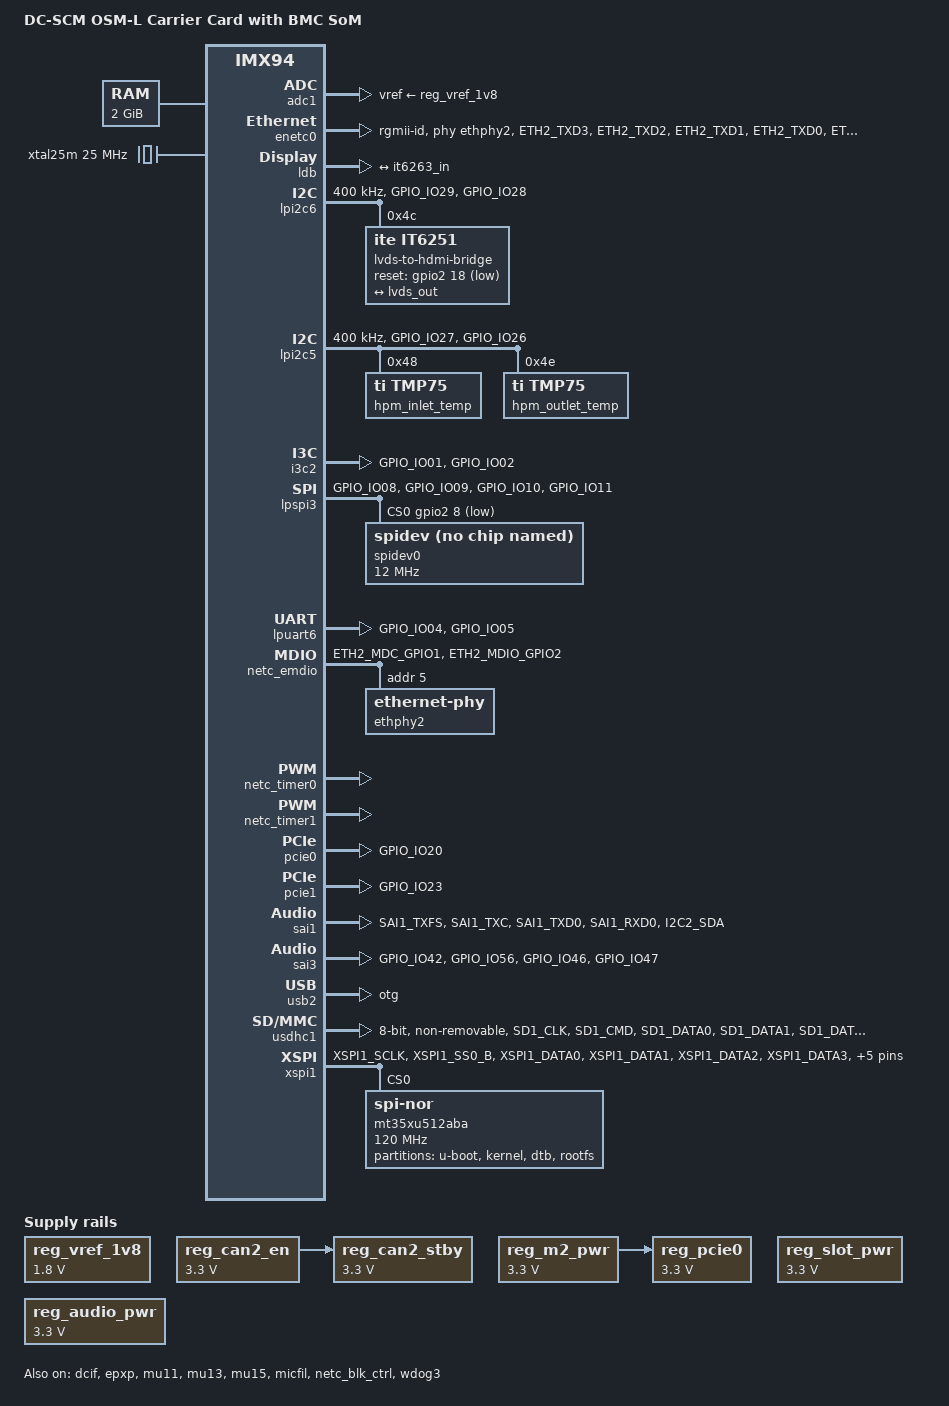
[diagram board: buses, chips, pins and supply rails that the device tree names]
// SPDX-License-Identifier: (GPL-2.0+ OR MIT)
/*
 * Copyright 2024-2026 NXP
 */

/dts-v1/;

#include "imx943.dtsi"
#include <dt-bindings/usb/pd.h>
#include <dt-bindings/pwm/pwm.h>

#define BRD_SM_CTRL_BT_WAKE		0x8000  /*!< PCAL6416A-3 */
#define BRD_SM_CTRL_SD3_WAKE		0x8001  /*!< PCAL6416A-4 */
#define BRD_SM_CTRL_PCIE1_WAKE		0x8002  /*!< PCAL6416A-5 */
#define BRD_SM_CTRL_PCIE2_WAKE		0x8003  /*!< PCAL6416A-6 */
#define BRD_SM_CTRL_BUTTON		0x8004  /*!< PCAL6416A-7 */

/ {
	model = "DC-SCM OSM-L Carrier Card with BMC SoM";
	compatible = "fsl,imx943-evk", "fsl,imx94";

	aliases {
		ethernet0 = &enetc0;
		mmc0 = &usdhc1;
		serial0 = &lpuart6;
	};

	chosen {
		stdout-path = &lpuart6;
	};

	cm70: imx943-cm70 {
		compatible = "fsl,imx94-cm7";
		mbox-names = "tx", "rx", "rxdb";
		mboxes = <&mu11 0 1
			  &mu11 1 1
			  &mu11 3 1>;
		memory-region = <&cm70_vdevbuffer>, <&cm70_vdev0vring0>, <&cm70_vdev0vring1>,
				<&cm70_vdev1vring0>, <&cm70_vdev1vring1>, <&cm70_rsc_table>;
		fsl,startup-delay-ms = <50>;
		fsl,core-index = <0x1>;
		/* cpuid and lmmid must align with SM firmware */
		fsl,cpu-id = <1>;
		fsl,lmm-id = <2>;
		status = "okay";
	};

	cm71: imx943-cm71 {
		compatible = "fsl,imx94-cm7";
		mbox-names = "tx", "rx", "rxdb";
		mboxes = <&mu13 0 1
			  &mu13 1 1
			  &mu13 3 1>;
		memory-region = <&cm71_vdevbuffer>, <&cm71_vdev0vring0>, <&cm71_vdev0vring1>,
				<&cm71_vdev1vring0>, <&cm71_vdev1vring1>, <&cm71_rsc_table>;
		fsl,startup-delay-ms = <50>;
		fsl,core-index = <0x7>;
		/* cpuid and lmmid must align with SM firmware */
		fsl,cpu-id = <7>;
		fsl,lmm-id = <3>;
		status = "okay";
	};

	cm33s: imx943-cm33s {
		compatible = "fsl,imx94-cm33s";
		mbox-names = "tx", "rx", "rxdb";
		mboxes = <&mu15 0 1
			  &mu15 1 1
			  &mu15 3 1>;
		memory-region = <&cm33s_vdevbuffer>, <&cm33s_vdev0vring0>, <&cm33s_vdev0vring1>,
				<&cm33s_vdev1vring0>, <&cm33s_vdev1vring1>, <&cm33s_rsc_table>;
		fsl,startup-delay-ms = <50>;
		/* cpuid and lmmid must align with SM firmware */
		fsl,cpu-id = <8>;
		fsl,lmm-id = <1>;
		status = "okay";
	};

	memory@80000000 {
		device_type = "memory";
		reg = <0x0 0x80000000 0x0 0x80000000>;
	};

	pcie_ref_clk: clock-pcie-ref {
		compatible = "gpio-gate-clock";
		clocks = <&xtal25m>;
		#clock-cells = <0>;
	};

	reserved-memory {
		#address-cells = <2>;
		#size-cells = <2>;
		ranges;

		linux,cma {
			compatible = "shared-dma-pool";
			reusable;
			size = <0 0x10000000>;
			alloc-ranges = <0 0x80000000 0 0x7f000000>;
			linux,cma-default;
		};

		cm70_vdev0vring0: vdev0vring0@82000000 {
			reg = <0 0x82000000 0 0x8000>;
			no-map;
		};

		cm70_vdev0vring1: vdev0vring1@82008000 {
			reg = <0 0x82008000 0 0x8000>;
			no-map;
		};

		cm70_vdev1vring0: vdev1vring0@82010000 {
			reg = <0 0x82010000 0 0x8000>;
			no-map;
		};

		cm70_vdev1vring1: vdev1vring1@82018000 {
			reg = <0 0x82018000 0 0x8000>;
			no-map;
		};

		cm70_rsc_table: rsc-table@82220000 {
			reg = <0 0x82220000 0 0x1000>;
			no-map;
		};

		cm70_vdevbuffer: vdevbuffer@82020000 {
			compatible = "shared-dma-pool";
			reg = <0 0x82020000 0 0x100000>;
			no-map;
		};

		cm71_vdev0vring0: vdev0vring0@84000000 {
			reg = <0 0x84000000 0 0x8000>;
			no-map;
		};

		cm71_vdev0vring1: vdev0vring1@84008000 {
			reg = <0 0x84008000 0 0x8000>;
			no-map;
		};

		cm71_vdev1vring0: vdev1vring0@84010000 {
			reg = <0 0x84010000 0 0x8000>;
			no-map;
		};

		cm71_vdev1vring1: vdev1vring1@84018000 {
			reg = <0 0x84018000 0 0x8000>;
			no-map;
		};

		cm71_rsc_table: rsc-table@84220000 {
			reg = <0 0x84220000 0 0x1000>;
			no-map;
		};

		cm71_vdevbuffer: vdevbuffer@84020000 {
			compatible = "shared-dma-pool";
			reg = <0 0x84020000 0 0x100000>;
			no-map;
		};

		cm33s_vdev0vring0: vdev0vring0@20800000 {
			reg = <0 0x20800000 0 0x8000>;
			no-map;
		};

		cm33s_vdev0vring1: vdev0vring1@20808000 {
			reg = <0 0x20808000 0 0x8000>;
			no-map;
		};

		cm33s_vdev1vring0: vdev1vring0@20810000 {
			reg = <0 0x20810000 0 0x8000>;
			no-map;
		};

		cm33s_vdev1vring1: vdev1vring1@20818000 {
			reg = <0 0x20818000 0 0x8000>;
			no-map;
		};

		cm33s_rsc_table: rsc-table@208a0000 {
			reg = <0 0x208a0000 0 0x1000>;
			no-map;
		};

		cm33s_vdevbuffer: vdevbuffer@20820000 {
			compatible = "shared-dma-pool";
			reg = <0 0x20820000 0 0x80000>;
			no-map;
		};

		ele_reserved: ele-reserved@a4120000 {
			compatible = "shared-dma-pool";
			reg = <0 0xa4120000 0 0x100000>;
			no-map;
		};
	};

	reg_vref_1v8: regulator-adc-vref {
		compatible = "regulator-fixed";
		regulator-name = "vref_1v8";
		regulator-min-microvolt = <1800000>;
		regulator-max-microvolt = <1800000>;
	};

	reg_can2_en: regulator-can2-en {
		compatible = "regulator-fixed";
		regulator-max-microvolt = <3300000>;
		regulator-min-microvolt = <3300000>;
		regulator-name = "can2-en";
		enable-active-high;
	};

	reg_can2_stby: regulator-can2-stby {
		compatible = "regulator-fixed";
		regulator-max-microvolt = <3300000>;
		regulator-min-microvolt = <3300000>;
		regulator-name = "can2-stby";
		vin-supply = <&reg_can2_en>;
		enable-active-high;
	};

	reg_m2_pwr: regulator-m2-pwr {
		compatible = "regulator-fixed";
		regulator-name = "M.2-power";
		regulator-min-microvolt = <3300000>;
		regulator-max-microvolt = <3300000>;
		enable-active-high;
		/*
		 * M.2 device only can be enabled(W_DISABLE1#) after all Power
		 * Rails reach their minimum operating voltage (PCI Express M.2
		 * Specification r5.1 3.1.4 Power-up Timing).
		 * Set a delay equal to the max value of Tsettle here.
		 */
		startup-delay-us = <5000>;
	};

	reg_pcie0: regulator-pcie {
		compatible = "regulator-fixed";
		regulator-name = "PCIE_WLAN_EN";
		regulator-min-microvolt = <3300000>;
		regulator-max-microvolt = <3300000>;
		vin-supply = <&reg_m2_pwr>;
		enable-active-high;
	};

	reg_slot_pwr: regulator-slot-pwr {
		compatible = "regulator-fixed";
		regulator-name = "PCIe slot-power";
		regulator-min-microvolt = <3300000>;
		regulator-max-microvolt = <3300000>;
		enable-active-high;
	};

	reg_audio_pwr: regulator-wm8962-pwr {
		compatible = "regulator-fixed";
		regulator-name = "audio-pwr";
		regulator-min-microvolt = <3300000>;
		regulator-max-microvolt = <3300000>;
		enable-active-high;
	};

	xtal25m: clock-xtal25m {
		compatible = "fixed-clock";
		#clock-cells = <0>;
		clock-frequency = <25000000>;
		clock-output-names = "xtal_25MHz";
	};
};

&adc1 {
	vref-supply = <&reg_vref_1v8>;
	status = "okay";
};

&dcif {
	status = "okay";
};


&ele_if0 {
	memory-region = <&ele_reserved>;
};

&enetc0 {
	clocks = <&scmi_clk IMX94_CLK_MAC3>;
	clock-names = "ref";
	pinctrl-names = "default";
	pinctrl-0 = <&pinctrl_eth2>;
	phy-handle = <&ethphy2>;
	phy-mode = "rgmii-id";
	status = "okay";
};

&epxp {
	status = "okay";
};

&ldb {
	#address-cells = <1>;
	#size-cells = <0>;
	assigned-clocks = <&scmi_clk IMX94_CLK_LDBPLL_VCO>,
    <&scmi_clk IMX94_CLK_LDBPLL>;
  assigned-clock-rates = <4158000000>, <1039500000>;
  status = "okay";

  ports {
    #address-cells = <1>;
    #size-cells = <0>;

    port@1 {
      reg = <1>;

      lvds_out: endpoint {
        remote-endpoint = <&it6263_in>;
      };
    };
  };
};

&lpi2c6 {
	clock-frequency = <400000>;
	pinctrl-0 = <&pinctrl_lpi2c6>;
	pinctrl-names = "default";
	status = "okay";

  lvds-to-hdmi-bridge@4c {
    compatible = "ite,it6251";
    reg = <0x4c>, <0x4d>;
    reg-names = "bridge", "lvds";
    reset-gpios = <&gpio2 18 GPIO_ACTIVE_LOW>;

    ports {
      #address-cells = <1>;
      #size-cells = <0>;
      port@0 {
        reg = <0>;
        bridge_out_edp0: endpoint {
        };
      };

      port@1 {
        reg = <1>;

        it6263_in: endpoint {
          remote-endpoint = <&lvds_out>;
        };
      };
    };
  };
};

&lpi2c5 {
	clock-frequency = <400000>;
	pinctrl-names = "default";
	pinctrl-0 = <&pinctrl_lpi2c5>;
	status = "okay";

	hpm_inlet_temp: tmp75@48 {
		compatible = "ti,tmp75";
		reg = <0x48>;
	};
	hpm_outlet_temp: tmp75@4e {
		compatible = "ti,tmp75";
		reg = <0x4e>;
	};
};

&i3c2 {
	i2c-scl-hz = <400000>;
	pinctrl-0 = <&pinctrl_i3c2>;
	pinctrl-1 = <&pinctrl_i3c2_sleep>;
	pinctrl-names = "default", "sleep";
	status = "okay";
};

&lpspi3 {
	cs-gpios = <&gpio2 8 GPIO_ACTIVE_LOW>;
	num-cs = <2>;
	pinctrl-0 = <&pinctrl_lpspi3>;
	pinctrl-names = "default";
	status = "okay";

	spidev0: spi@0 {
		compatible = "rohm,dh2228fv";
		reg = <0>;
		spi-max-frequency = <12000000>;
	};
};

&lpuart6 {
	/* console */
	pinctrl-names = "default";
	pinctrl-0 = <&pinctrl_uart6>;
	status = "okay";
};

&mu11 {
	status = "okay";
};

&mu13 {
	status = "okay";
};

&mu15 {
	status = "okay";
};

&micfil {
	pinctrl-names = "default";
	pinctrl-0 = <&pinctrl_pdm>;
	assigned-clocks = <&scmi_clk IMX94_CLK_AUDIOPLL1_VCO>,
			  <&scmi_clk IMX94_CLK_AUDIOPLL2_VCO>,
			  <&scmi_clk IMX94_CLK_AUDIOPLL1>,
			  <&scmi_clk IMX94_CLK_AUDIOPLL2>,
			  <&scmi_clk IMX94_CLK_PDM>;
	assigned-clock-parents = <0>, <0>, <0>, <0>,
				 <&scmi_clk IMX94_CLK_AUDIOPLL1>;
	assigned-clock-rates = <3932160000>,
			       <3612672000>, <393216000>,
			       <361267200>, <49152000>;
	status = "okay";
};

&netc_blk_ctrl {
	assigned-clocks = <&scmi_clk IMX94_CLK_MAC2>,
			  <&scmi_clk IMX94_CLK_MAC3>,
			  <&scmi_clk IMX94_CLK_MAC4>,
			  <&scmi_clk IMX94_CLK_MAC5>;
	assigned-clock-parents = <&scmi_clk IMX94_CLK_SYSPLL1_PFD0>,
				 <&scmi_clk IMX94_CLK_SYSPLL1_PFD0>,
				 <&scmi_clk IMX94_CLK_SYSPLL1_PFD0>,
				 <&scmi_clk IMX94_CLK_SYSPLL1_PFD0>;
	assigned-clock-rates = <250000000>, <250000000>, <250000000>, <250000000>;
	status = "okay";
};

&netc_emdio {
	pinctrl-names = "default";
	pinctrl-0 = <&pinctrl_emdio>;
	status = "okay";

	ethphy2: ethernet-phy@5 {
		reg = <0x5>;
		realtek,clkout-disable;
	};
};

&netc_timer0 {
	status = "okay";
};

&netc_timer1 {
	status = "okay";
};

&pcie0 {
	pinctrl-0 = <&pinctrl_pcie0>;
	pinctrl-names = "default";
	clocks = <&scmi_clk IMX94_CLK_HSIO>,
		 <&scmi_clk IMX94_CLK_HSIOPLL>,
		 <&scmi_clk IMX94_CLK_HSIOPLL_VCO>,
		 <&scmi_clk IMX94_CLK_HSIOPCIEAUX>,
		 <&pcie_ref_clk>;
	clock-names = "pcie", "pcie_bus", "pcie_phy", "pcie_aux", "ext-ref";
	vpcie-supply = <&reg_pcie0>;
	status = "okay";
};

&pcie1 {
	pinctrl-0 = <&pinctrl_pcie1>;
	pinctrl-names = "default";
	clocks = <&scmi_clk IMX94_CLK_HSIO>,
		 <&scmi_clk IMX94_CLK_HSIOPLL>,
		 <&scmi_clk IMX94_CLK_HSIOPLL_VCO>,
		 <&scmi_clk IMX94_CLK_HSIOPCIEAUX>,
		 <&pcie_ref_clk>;
	clock-names = "pcie", "pcie_bus", "pcie_phy", "pcie_aux", "ext-ref";
	vpcie-supply = <&reg_slot_pwr>;
	status = "okay";
};

&pcie1_ep {
	pinctrl-0 = <&pinctrl_pcie1>;
	pinctrl-names = "default";
	clocks = <&scmi_clk IMX94_CLK_HSIO>,
		 <&scmi_clk IMX94_CLK_HSIOPLL>,
		 <&scmi_clk IMX94_CLK_HSIOPLL_VCO>,
		 <&scmi_clk IMX94_CLK_HSIOPCIEAUX>;
	clock-names = "pcie", "pcie_bus", "pcie_phy", "pcie_aux";
	vpcie-supply = <&reg_slot_pwr>;
	status = "disabled";
};

&sai1 {
	pinctrl-names = "default";
	pinctrl-0 = <&pinctrl_sai1>;
	assigned-clocks = <&scmi_clk IMX94_CLK_AUDIOPLL1_VCO>,
			  <&scmi_clk IMX94_CLK_AUDIOPLL2_VCO>,
			  <&scmi_clk IMX94_CLK_AUDIOPLL1>,
			  <&scmi_clk IMX94_CLK_AUDIOPLL2>,
			  <&scmi_clk IMX94_CLK_SAI1>;
	assigned-clock-parents = <0>, <0>, <0>, <0>,
				 <&scmi_clk IMX94_CLK_AUDIOPLL1>;
	assigned-clock-rates = <3932160000>,
			       <3612672000>, <393216000>,
			       <361267200>, <12288000>;
	fsl,sai-mclk-direction-output;
	status = "okay";
};

&sai3 {
	pinctrl-names = "default";
	pinctrl-0 = <&pinctrl_sai3>;
	assigned-clocks = <&scmi_clk IMX94_CLK_AUDIOPLL1_VCO>,
			  <&scmi_clk IMX94_CLK_AUDIOPLL2_VCO>,
			  <&scmi_clk IMX94_CLK_AUDIOPLL1>,
			  <&scmi_clk IMX94_CLK_AUDIOPLL2>,
			  <&scmi_clk IMX94_CLK_SAI3>;
	assigned-clock-parents = <0>, <0>, <0>, <0>,
				 <&scmi_clk IMX94_CLK_AUDIOPLL1>;
	assigned-clock-rates = <3932160000>,
			       <3612672000>, <393216000>,
			       <361267200>, <12288000>;
	fsl,sai-mclk-direction-output;
	status = "okay";
};

&scmi_misc {
	nxp,ctrl-ids = <BRD_SM_CTRL_SD3_WAKE		1
			BRD_SM_CTRL_PCIE1_WAKE		1
			BRD_SM_CTRL_BT_WAKE		1
			BRD_SM_CTRL_PCIE2_WAKE		1
			BRD_SM_CTRL_BUTTON		1>;
};


&usb2 {
	dr_mode = "otg";
	disable-over-current;
	adp-disable;
	hnp-disable;
	srp-disable;
	status = "okay";
};

&thermal_zones {
	a55-thermal {
		trips {
			atrip2: trip2 {
				temperature = <55000>;
				hysteresis = <2000>;
				type = "active";
			};

			atrip3: trip3 {
				temperature = <65000>;
				hysteresis = <2000>;
				type = "active";
			};

			atrip4: trip4 {
				temperature = <75000>;
				hysteresis = <2000>;
				type = "active";
			};
		};

		cooling-maps {
			map1 {
				trip = <&atrip2>;
			};

			map2 {
				trip = <&atrip3>;
			};

			map3 {
				trip = <&atrip4>;
			};
		};
	};

	pf09 {
		polling-delay-passive = <250>;
		polling-delay = <2000>;
		thermal-sensors = <&scmi_sensor 2>;
		status = "disabled";
		trips {
			pf09_alert: trip0 {
				temperature = <140000>;
				hysteresis = <2000>;
				type = "passive";
			};

			pf09_crit: trip1 {
				temperature = <155000>;
				hysteresis = <2000>;
				type = "critical";
			};
		};
	};

	pf53_soc {
		polling-delay-passive = <250>;
		polling-delay = <2000>;
		thermal-sensors = <&scmi_sensor 3>;
		status = "disabled";
		trips {
			pf5302_alert: trip0 {
				temperature = <140000>;
				hysteresis = <2000>;
				type = "passive";
			};

			pf5302_crit: trip1 {
				temperature = <155000>;
				hysteresis = <2000>;
				type = "critical";
			};
		};
	};
};

&usdhc1 {
	pinctrl-names = "default", "state_100mhz", "state_200mhz", "sleep";
	pinctrl-0 = <&pinctrl_usdhc1>;
	pinctrl-1 = <&pinctrl_usdhc1_100mhz>;
	pinctrl-2 = <&pinctrl_usdhc1_200mhz>;
	pinctrl-3 = <&pinctrl_usdhc1>;
	bus-width = <8>;
	non-removable;
	no-sdio;
	no-sd;
	status = "okay";
};

&wdog3 {
	fsl,ext-reset-output;
	status = "okay";
};

&xspi1 {
	pinctrl-0 = <&pinctrl_xspi1>;
	pinctrl-1 = <&pinctrl_xspi1>;
	pinctrl-names = "default", "sleep";
	status = "okay";

	mt35xu512aba: flash@0 {
		compatible = "jedec,spi-nor";
		reg = <0>;
		#address-cells = <1>;
		#size-cells = <1>;
		spi-max-frequency = <120000000>;
		spi-rx-bus-width = <4>;
		spi-tx-bus-width = <4>;

    partitions {
      compatible = "fixed-partitions";
      #address-cells = <0x01>;
      #size-cells = <0x01>;

      partition@0 {
        label = "u-boot";
        reg = <0x00000000 0x002E0000>;
      };

      partition@1 {
        label = "kernel";
        reg = <0x002E0000 0x02300000>;
      };

      partition@2 {
        label = "dtb";
        reg = <0x025E0000 0x00020000>;
      };

      partition@3 {
        label = "rootfs";
        reg = <0x02600000 0x03C00000>;
      };
    };
	};
};

&scmi_iomuxc {
	pinctrl_emdio: emdiogrp{
		fsl,pins = <
			IMX94_PAD_ETH2_MDC_GPIO1__NETC_EMDC		0x57e
			IMX94_PAD_ETH2_MDIO_GPIO2__NETC_EMDIO		0x97e
		>;
	};

	pinctrl_eth2: eth2grp {
		fsl,pins = <
			IMX94_PAD_ETH2_TXD3__NETC_PINMUX_ETH2_TXD3		0x57e
			IMX94_PAD_ETH2_TXD2__NETC_PINMUX_ETH2_TXD2		0x57e
			IMX94_PAD_ETH2_TXD1__NETC_PINMUX_ETH2_TXD1		0x57e
			IMX94_PAD_ETH2_TXD0__NETC_PINMUX_ETH2_TXD0		0x57e
			IMX94_PAD_ETH2_TX_CTL__NETC_PINMUX_ETH2_TX_CTL		0x57e
			IMX94_PAD_ETH2_TX_CLK__NETC_PINMUX_ETH2_TX_CLK		0x5fe
			IMX94_PAD_ETH2_RX_CTL__NETC_PINMUX_ETH2_RX_CTL		0x57e
			IMX94_PAD_ETH2_RX_CLK__NETC_PINMUX_ETH2_RX_CLK		0x5fe
			IMX94_PAD_ETH2_RXD0__NETC_PINMUX_ETH2_RXD0		0x57e
			IMX94_PAD_ETH2_RXD1__NETC_PINMUX_ETH2_RXD1		0x57e
			IMX94_PAD_ETH2_RXD2__NETC_PINMUX_ETH2_RXD2		0x57e
			IMX94_PAD_ETH2_RXD3__NETC_PINMUX_ETH2_RXD3		0x57e
		>;
	};

	pinctrl_eth3: eth3grp {
		fsl,pins = <
			IMX94_PAD_ETH3_TXD3__NETC_PINMUX_ETH3_TXD3		0x57e
			IMX94_PAD_ETH3_TXD2__NETC_PINMUX_ETH3_TXD2		0x57e
			IMX94_PAD_ETH3_TXD1__NETC_PINMUX_ETH3_TXD1		0x57e
			IMX94_PAD_ETH3_TXD0__NETC_PINMUX_ETH3_TXD0		0x57e
			IMX94_PAD_ETH3_TX_CTL__NETC_PINMUX_ETH3_TX_CTL		0x57e
			IMX94_PAD_ETH3_TX_CLK__NETC_PINMUX_ETH3_TX_CLK		0x5fe
			IMX94_PAD_ETH3_RX_CTL__NETC_PINMUX_ETH3_RX_CTL		0x57e
			IMX94_PAD_ETH3_RX_CLK__NETC_PINMUX_ETH3_RX_CLK		0x5fe
			IMX94_PAD_ETH3_RXD0__NETC_PINMUX_ETH3_RXD0		0x57e
			IMX94_PAD_ETH3_RXD1__NETC_PINMUX_ETH3_RXD1		0x57e
			IMX94_PAD_ETH3_RXD2__NETC_PINMUX_ETH3_RXD2		0x57e
			IMX94_PAD_ETH3_RXD3__NETC_PINMUX_ETH3_RXD3		0x57e
		>;
	};

	pinctrl_eth4: eth4grp {
		fsl,pins = <
			IMX94_PAD_ETH4_TXD3__NETC_PINMUX_ETH4_TXD3		0x57e
			IMX94_PAD_ETH4_TXD2__NETC_PINMUX_ETH4_TXD2		0x57e
			IMX94_PAD_ETH4_TXD1__NETC_PINMUX_ETH4_TXD1		0x57e
			IMX94_PAD_ETH4_TXD0__NETC_PINMUX_ETH4_TXD0		0x57e
			IMX94_PAD_ETH4_TX_CTL__NETC_PINMUX_ETH4_TX_CTL		0x57e
			IMX94_PAD_ETH4_TX_CLK__NETC_PINMUX_ETH4_TX_CLK		0x5fe
			IMX94_PAD_ETH4_RX_CTL__NETC_PINMUX_ETH4_RX_CTL		0x57e
			IMX94_PAD_ETH4_RX_CLK__NETC_PINMUX_ETH4_RX_CLK		0x5fe
			IMX94_PAD_ETH4_RXD0__NETC_PINMUX_ETH4_RXD0		0x57e
			IMX94_PAD_ETH4_RXD1__NETC_PINMUX_ETH4_RXD1		0x57e
			IMX94_PAD_ETH4_RXD2__NETC_PINMUX_ETH4_RXD2		0x57e
			IMX94_PAD_ETH4_RXD3__NETC_PINMUX_ETH4_RXD3		0x57e
		>;
	};

	pinctrl_flexcan2: flexcan2grp {
		fsl,pins = <
			IMX94_PAD_GPIO_IO34__CAN2_TX		0x39e
			IMX94_PAD_GPIO_IO35__CAN2_RX		0x39e
		>;
	};

	pinctrl_flexcan4: flexcan4grp {
		fsl,pins = <
			IMX94_PAD_GPIO_IO36__CAN4_TX		0x39e
			IMX94_PAD_GPIO_IO37__CAN4_RX		0x39e
		>;
	};

	pinctrl_i3c2: i3c2grp {
		fsl,pins = <
			IMX94_PAD_GPIO_IO01__I3C2_SCL			0x400001fe
			IMX94_PAD_GPIO_IO02__I3C2_SDA			0x400001fe
		>;
	};

	pinctrl_i3c2_sleep: i3c2sleepgrp {
		fsl,pins = <
			IMX94_PAD_GPIO_IO01__GPIO2_IO1			0x31e
			IMX94_PAD_GPIO_IO02__GPIO2_IO2			0x31e
		>;
	};

	pinctrl_ioexpander_int2: ioexpanderint2grp {
		fsl,pins = <
			IMX94_PAD_CCM_CLKO4__GPIO4_IO3		0x31e
		>;
	};

	pinctrl_ioexpander_int: ioexpanderintgrp {
		fsl,pins = <
			IMX94_PAD_GPIO_IO45__GPIO3_IO13		0x31e
		>;
	};

	pinctrl_uart6: uart6grp {
		fsl,pins = <
			IMX94_PAD_GPIO_IO04__LPUART6_TX		0x31e
			IMX94_PAD_GPIO_IO05__LPUART6_RX		0x31e
		>;
	};

	pinctrl_lpi2c5: lpi2c5grp {
		fsl,pins = <
			IMX94_PAD_GPIO_IO27__LPI2C5_SDA			0x40000b9e
			IMX94_PAD_GPIO_IO26__LPI2C5_SCL			0x40000b9e
		>;
	};

	pinctrl_lpi2c6: lpi2c6grp {
		fsl,pins = <
			IMX94_PAD_GPIO_IO29__LPI2C6_SDA		0x40000b9e
			IMX94_PAD_GPIO_IO28__LPI2C6_SCL		0x40000b9e
		>;
	};

	pinctrl_lpspi3: lpspi3grp {
		fsl,pins = <
			IMX94_PAD_GPIO_IO08__GPIO2_IO8			0x3fe
			IMX94_PAD_GPIO_IO09__LPSPI3_SIN			0x3fe
			IMX94_PAD_GPIO_IO10__LPSPI3_SOUT		0x3fe
			IMX94_PAD_GPIO_IO11__LPSPI3_SCK			0x3fe
		>;
	};

	pinctrl_mqs1: mqs1grp {
		fsl,pins = <
			IMX94_PAD_PDM_CLK__MQS1_LEFT           0x31e
			IMX94_PAD_PDM_BIT_STREAM0__MQS1_RIGHT  0x31e
		>;
	};

	pinctrl_pcie0: pcie0grp {
		fsl,pins = <
			IMX94_PAD_GPIO_IO20__PCIE1_CLKREQ_B	0x4000031e
		>;
	};

	pinctrl_pcie1: pcie1grp {
		fsl,pins = <
			IMX94_PAD_GPIO_IO23__PCIE2_CLKREQ_B	0x4000031e
		>;
	};

	pinctrl_pdm: pdmgrp {
		fsl,pins = <
			IMX94_PAD_PDM_CLK__PDM_CLK			0x31e
			IMX94_PAD_PDM_BIT_STREAM0__PDM_BIT_STREAM0	0x31e
			IMX94_PAD_PDM_BIT_STREAM1__PDM_BIT_STREAM1	0x31e
		>;
	};

	pinctrl_sai1: sai1grp {
		fsl,pins = <
			IMX94_PAD_SAI1_TXFS__SAI1_TX_SYNC	0x31e
			IMX94_PAD_SAI1_TXC__SAI1_TX_BCLK	0x31e
			IMX94_PAD_SAI1_TXD0__SAI1_TX_DATA0	0x31e
			IMX94_PAD_SAI1_RXD0__SAI1_RX_DATA0	0x31e
			IMX94_PAD_I2C2_SDA__SAI1_MCLK		0x31e
		>;
	};

	pinctrl_sai3: sai3grp {
		fsl,pins = <
			IMX94_PAD_GPIO_IO42__SAI3_TX_BCLK	0x31e
			IMX94_PAD_GPIO_IO56__SAI3_TX_SYNC	0x31e
			IMX94_PAD_GPIO_IO46__SAI3_RX_DATA0	0x31e
			IMX94_PAD_GPIO_IO47__SAI3_TX_DATA0	0x31e
		>;
	};

	pinctrl_usdhc1: usdhc1grp {
		fsl,pins = <
			IMX94_PAD_SD1_CLK__USDHC1_CLK		0x158e
			IMX94_PAD_SD1_CMD__USDHC1_CMD		0x138e
			IMX94_PAD_SD1_DATA0__USDHC1_DATA0	0x138e
			IMX94_PAD_SD1_DATA1__USDHC1_DATA1	0x138e
			IMX94_PAD_SD1_DATA2__USDHC1_DATA2	0x138e
			IMX94_PAD_SD1_DATA3__USDHC1_DATA3	0x138e
			IMX94_PAD_SD1_DATA4__USDHC1_DATA4	0x138e
			IMX94_PAD_SD1_DATA5__USDHC1_DATA5	0x138e
			IMX94_PAD_SD1_DATA6__USDHC1_DATA6	0x138e
			IMX94_PAD_SD1_DATA7__USDHC1_DATA7	0x138e
			IMX94_PAD_SD1_STROBE__USDHC1_STROBE	0x158e
		>;
	};

	pinctrl_usdhc1_100mhz: usdhc1-100mhzgrp {
		fsl,pins = <
			IMX94_PAD_SD1_CLK__USDHC1_CLK		0x158e
			IMX94_PAD_SD1_CMD__USDHC1_CMD		0x138e
			IMX94_PAD_SD1_DATA0__USDHC1_DATA0	0x138e
			IMX94_PAD_SD1_DATA1__USDHC1_DATA1	0x138e
			IMX94_PAD_SD1_DATA2__USDHC1_DATA2	0x138e
			IMX94_PAD_SD1_DATA3__USDHC1_DATA3	0x138e
			IMX94_PAD_SD1_DATA4__USDHC1_DATA4	0x138e
			IMX94_PAD_SD1_DATA5__USDHC1_DATA5	0x138e
			IMX94_PAD_SD1_DATA6__USDHC1_DATA6	0x138e
			IMX94_PAD_SD1_DATA7__USDHC1_DATA7	0x138e
			IMX94_PAD_SD1_STROBE__USDHC1_STROBE	0x158e
		>;
	};

	pinctrl_usdhc1_200mhz: usdhc1-200mhzgrp {
		fsl,pins = <
			IMX94_PAD_SD1_CLK__USDHC1_CLK		0x15fe
			IMX94_PAD_SD1_CMD__USDHC1_CMD		0x13fe
			IMX94_PAD_SD1_DATA0__USDHC1_DATA0	0x13fe
			IMX94_PAD_SD1_DATA1__USDHC1_DATA1	0x13fe
			IMX94_PAD_SD1_DATA2__USDHC1_DATA2	0x13fe
			IMX94_PAD_SD1_DATA3__USDHC1_DATA3	0x13fe
			IMX94_PAD_SD1_DATA4__USDHC1_DATA4	0x13fe
			IMX94_PAD_SD1_DATA5__USDHC1_DATA5	0x13fe
			IMX94_PAD_SD1_DATA6__USDHC1_DATA6	0x13fe
			IMX94_PAD_SD1_DATA7__USDHC1_DATA7	0x13fe
			IMX94_PAD_SD1_STROBE__USDHC1_STROBE	0x15fe
		>;
	};

	pinctrl_xspi1: xspi1grp {
		fsl,pins = <
			IMX94_PAD_XSPI1_SCLK__XSPI1_A_SCLK	0x3fe
			IMX94_PAD_XSPI1_SS0_B__XSPI1_A_SS0_B	0x3fe
			IMX94_PAD_XSPI1_DATA0__XSPI1_A_DATA0	0x3fe
			IMX94_PAD_XSPI1_DATA1__XSPI1_A_DATA1	0x3fe
			IMX94_PAD_XSPI1_DATA2__XSPI1_A_DATA2	0x3fe
			IMX94_PAD_XSPI1_DATA3__XSPI1_A_DATA3	0x3fe
			IMX94_PAD_XSPI1_DATA4__XSPI1_A_DATA4	0x3fe
			IMX94_PAD_XSPI1_DATA5__XSPI1_A_DATA5	0x3fe
			IMX94_PAD_XSPI1_DATA6__XSPI1_A_DATA6	0x3fe
			IMX94_PAD_XSPI1_DATA7__XSPI1_A_DATA7	0x3fe
			IMX94_PAD_XSPI1_DQS__XSPI1_A_DQS	0x3fe
		>;
	};
};
